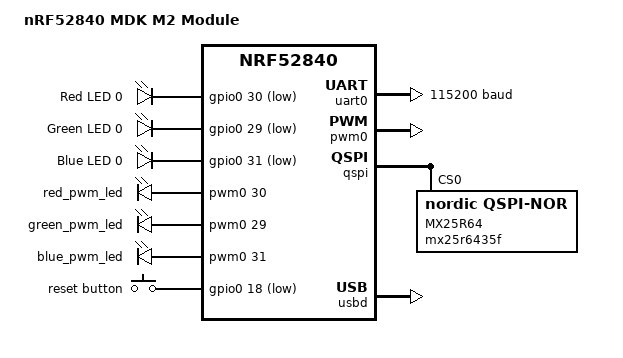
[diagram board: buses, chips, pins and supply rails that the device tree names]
/*
 * Copyright (c) 2022 Matt Anderson
 * Copyright (c) 2022 Nikola Trifunovic
 * Copyright (c) 2018 Nordic Semiconductor ASA
 * Copyright (c) 2017 Linaro Limited
 *
 * SPDX-License-Identifier: Apache-2.0
 */

/dts-v1/;
#include <nordic/nrf52840_qiaa.dtsi>
#include "nrf52840_mdk_m2_module-pinctrl.dtsi"

/ {
	model = "nRF52840 MDK M2 Module";
	compatible = "nrf52840_mdk_m2_module";

	chosen {
		zephyr,console = &uart0;
		zephyr,shell-uart = &uart0;
		zephyr,uart-mcumgr = &uart0;
		zephyr,bt-mon-uart = &uart0;
		zephyr,bt-c2h-uart = &uart0;
		zephyr,sram = &sram0;
		zephyr,flash = &flash0;
		zephyr,code-partition = &slot0_partition;
	};

	leds {
		compatible = "gpio-leds";
		led0_red: led_0 {
			gpios = <&gpio0 30 GPIO_ACTIVE_LOW>;
			label = "Red LED 0";
		};
		led0_green: led_1 {
			gpios = <&gpio0 29 GPIO_ACTIVE_LOW>;
			label = "Green LED 0";
		};
		led0_blue: led_2 {
			gpios = <&gpio0 31 GPIO_ACTIVE_LOW>;
			label = "Blue LED 0";
		};
	};

	pwmleds {
		compatible = "pwm-leds";
		red_pwm_led: pwm_led_0 {
			pwms = <&pwm0 30>;
		};
		green_pwm_led: pwm_led_1 {
			pwms = <&pwm0 29>;
		};
		blue_pwm_led: pwm_led_2 {
			pwms = <&pwm0 31>;
		};
	};

	/* The button is not present on the module, though reset is typically
	 * connected on the baseboard to reset the module. */
	buttons {
		compatible = "gpio-keys";
		reset_button: button_0 {
			gpios = <&gpio0 18 (GPIO_PULL_UP | GPIO_ACTIVE_LOW)>;
			label = "reset button";
		};
	};

	/* These aliases are provided for compatibility with samples */
	aliases {
		led0 = &led0_red;
		led1 = &led0_green;
		led2 = &led0_blue;
		led0-red = &led0_red;
		led0-green = &led0_green;
		led0-blue = &led0_blue;
		pwm-led0 = &red_pwm_led;
		pwm-led1 = &green_pwm_led;
		pwm-led2 = &blue_pwm_led;
		red-pwm-led = &red_pwm_led;
		green-pwm-led = &green_pwm_led;
		blue-pwm-led = &blue_pwm_led;
	};
};

&gpiote {
	status = "okay";
};

&gpio0 {
	status = "okay";
};

&gpio1 {
	status = "okay";
};

&uart0 {
	/* Line drivers are not present on the module, P0.16(RX) / P0.15(TX)
	 * are defined here for compatibility with the DAPLink/LPC11U35 on
	 * the M.2 Developer Kit */
	compatible = "nordic,nrf-uarte";
	status = "okay";
	current-speed = <115200>;
	pinctrl-0 = <&uart0_default>;
	pinctrl-1 = <&uart0_sleep>;
	pinctrl-names = "default", "sleep";
};

&pwm0 {
	status = "okay";
	pinctrl-0 = <&pwm0_default>;
	pinctrl-1 = <&pwm0_sleep>;
	pinctrl-names = "default", "sleep";
};

&qspi {
	status = "okay";
	pinctrl-0 = <&qspi_default>;
	pinctrl-1 = <&qspi_sleep>;
	pinctrl-names = "default", "sleep";
	mx25r64: mx25r6435f@0 {
		compatible = "nordic,qspi-nor";
		reg = <0>;
		writeoc = "pp4io";
		readoc = "read4io";
		sck-frequency = <8000000>;
		label = "MX25R64";
		jedec-id = [c2 28 17];
		sfdp-bfp = [
			e5 20 f1 ff  ff ff ff 03  44 eb 08 6b  08 3b 04 bb
			ee ff ff ff  ff ff 00 ff  ff ff 00 ff  0c 20 0f 52
			10 d8 00 ff  23 72 f5 00  82 ed 04 cc  44 83 68 44
			30 b0 30 b0  f7 c4 d5 5c  00 be 29 ff  f0 d0 ff ff
		];
		size = <67108864>;
		has-dpd;
		t-enter-dpd = <10000>;
		t-exit-dpd = <35000>;
	};
};

/* Include flash partition table.
 * Two partition tables are available:
 * fstab-stock		-compatible with Nordic nRF5 bootloader, default
 * fstab-debugger	-to use an external debugger, w/o the nRF5 bootloader
 */
#include "fstab-stock.dts"

zephyr_udc0: &usbd {
	compatible = "nordic,nrf-usbd";
	status = "okay";
};
